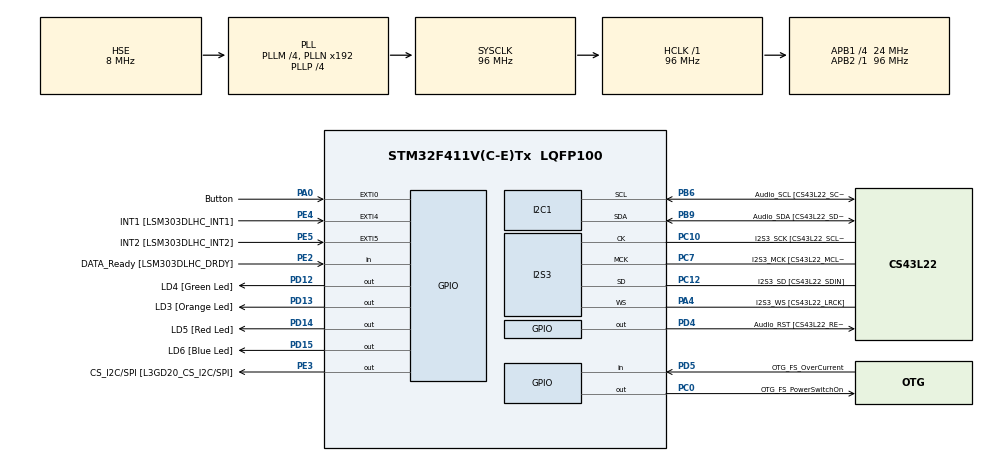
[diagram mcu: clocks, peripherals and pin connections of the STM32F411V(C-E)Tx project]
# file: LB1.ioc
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Dma.Request0=SPI3_TX
Dma.SPI3_TX.0.Direction=DMA_MEMORY_TO_PERIPH
Dma.SPI3_TX.0.FIFOMode=DMA_FIFOMODE_ENABLE
Dma.SPI3_TX.0.FIFOThreshold=DMA_FIFO_THRESHOLD_FULL
Dma.SPI3_TX.0.Instance=DMA1_Stream5
Dma.SPI3_TX.0.MemBurst=DMA_MBURST_SINGLE
Dma.SPI3_TX.0.MemDataAlignment=DMA_MDATAALIGN_HALFWORD
Dma.SPI3_TX.0.MemInc=DMA_MINC_ENABLE
Dma.SPI3_TX.0.Mode=DMA_CIRCULAR
Dma.SPI3_TX.0.PeriphBurst=DMA_PBURST_SINGLE
Dma.SPI3_TX.0.PeriphDataAlignment=DMA_PDATAALIGN_HALFWORD
Dma.SPI3_TX.0.PeriphInc=DMA_PINC_DISABLE
Dma.SPI3_TX.0.Priority=DMA_PRIORITY_LOW
I2S3.AudioFreq=I2S_AUDIOFREQ_48K
I2S3.ErrorAudioFreq=0.15 %
I2S3.FullDuplexMode=I2S_FULLDUPLEXMODE_DISABLE
I2S3.Instance=SPI$Index
I2S3.RealAudioFreq=48.076 KHz
I2S3.VirtualMode=I2S_MODE_MASTER
Mcu.Family=STM32F4
Mcu.Name=STM32F411V(C-E)Tx
Mcu.Package=LQFP100
NVIC.DMA1_Stream5_IRQn=true\:0\:0\:false\:false\:true\:false\:true
NVIC.EXTI0_IRQn=true\:0\:0\:false\:false\:true\:true\:true
NVIC.PriorityGroup=NVIC_PRIORITYGROUP_0
PA0-WKUP.GPIO_Label=Button
PA0-WKUP.Signal=GPXTI0
PA13.GPIO_Label=SWDIO
PA13.Mode=Serial_Wire
PA13.Signal=SYS_JTMS-SWDIO
PA14.GPIO_Label=SWCLK
PA14.Mode=Serial_Wire
PA14.Signal=SYS_JTCK-SWCLK
PA4.GPIO_Label=I2S3_WS [CS43L22_LRCK]
PA4.GPIO_Mode=GPIO_MODE_AF_PP
PA4.GPIO_PuPd=GPIO_NOPULL
PA4.GPIO_Speed=GPIO_SPEED_FREQ_LOW
PA4.Mode=Half_Duplex_Master
PA4.Signal=I2S3_WS
PB6.GPIO_Label=Audio_SCL [CS43L22_SCL]
PB6.GPIO_Mode=GPIO_MODE_AF_OD
PB6.GPIO_PuPd=GPIO_NOPULL
PB6.GPIO_Speed=GPIO_SPEED_FREQ_LOW
PB6.Mode=I2C
PB6.Signal=I2C1_SCL
PB9.GPIO_Label=Audio_SDA [CS43L22_SDA]
PB9.GPIO_Mode=GPIO_MODE_AF_OD
PB9.GPIO_PuPd=GPIO_NOPULL
PB9.GPIO_Speed=GPIO_SPEED_FREQ_LOW
PB9.Mode=I2C
PB9.Signal=I2C1_SDA
PC0.GPIO_Label=OTG_FS_PowerSwitchOn
PC0.PinState=GPIO_PIN_SET
PC0.Signal=GPIO_Output
PC10.GPIO_Label=I2S3_SCK [CS43L22_SCLK]
PC10.GPIO_Mode=GPIO_MODE_AF_PP
PC10.GPIO_PuPd=GPIO_NOPULL
PC10.GPIO_Speed=GPIO_SPEED_FREQ_LOW
PC10.Mode=Half_Duplex_Master
PC10.Signal=I2S3_CK
PC12.GPIO_Label=I2S3_SD [CS43L22_SDIN]
PC12.GPIO_Mode=GPIO_MODE_AF_PP
PC12.GPIO_PuPd=GPIO_NOPULL
PC12.GPIO_Speed=GPIO_SPEED_FREQ_LOW
PC12.Mode=Half_Duplex_Master
PC12.Signal=I2S3_SD
PC7.GPIO_Label=I2S3_MCK [CS43L22_MCLK]
PC7.GPIO_Mode=GPIO_MODE_AF_PP
PC7.GPIO_PuPd=GPIO_NOPULL
PC7.GPIO_Speed=GPIO_SPEED_FREQ_LOW
PC7.Mode=Master_Clock_Activated
PC7.Signal=I2S3_MCK
PD12.GPIO_Label=LD4 [Green Led]
PD12.GPIO_PuPd=GPIO_NOPULL
PD12.GPIO_Speed=GPIO_SPEED_FREQ_LOW
PD12.Signal=GPIO_Output
PD13.GPIO_Label=LD3 [Orange Led]
PD13.GPIO_PuPd=GPIO_NOPULL
PD13.GPIO_Speed=GPIO_SPEED_FREQ_LOW
PD13.Signal=GPIO_Output
PD14.GPIO_Label=LD5 [Red Led]
PD14.GPIO_PuPd=GPIO_NOPULL
PD14.GPIO_Speed=GPIO_SPEED_FREQ_LOW
PD14.Signal=GPIO_Output
PD15.GPIO_Label=LD6 [Blue Led]
PD15.GPIO_PuPd=GPIO_NOPULL
PD15.GPIO_Speed=GPIO_SPEED_FREQ_LOW
PD15.Signal=GPIO_Output
PD4.GPIO_Label=Audio_RST [CS43L22_RESET]
PD4.Signal=GPIO_Output
PD5.GPIO_Label=OTG_FS_OverCurrent
PD5.Signal=GPIO_Input
PE2.GPIO_Label=DATA_Ready [LSM303DLHC_DRDY]
PE2.Signal=GPIO_Input
PE3.GPIO_Label=CS_I2C/SPI [L3GD20_CS_I2C/SPI]
PE3.Signal=GPIO_Output
PE4.GPIO_Label=INT1 [LSM303DLHC_INT1]
PE4.GPIO_ModeDefaultEXTI=GPIO_MODE_EVT_RISING
PE4.Signal=GPXTI4
PE5.GPIO_Label=INT2 [LSM303DLHC_INT2]
PE5.GPIO_ModeDefaultEXTI=GPIO_MODE_EVT_RISING
PE5.Signal=GPXTI5
PH0\ -\ OSC_IN.GPIO_Label=PH0-OSC_IN
PH0\ -\ OSC_IN.Mode=HSE-External-Oscillator
PH0\ -\ OSC_IN.Signal=RCC_OSC_IN
PH1\ -\ OSC_OUT.GPIO_Label=PH1-OSC_OUT
PH1\ -\ OSC_OUT.Mode=HSE-External-Oscillator
PH1\ -\ OSC_OUT.Signal=RCC_OSC_OUT
ProjectManager.HeapSize=0x200
ProjectManager.StackSize=0x400
ProjectManager.TargetToolchain=SW4STM32
RCC.48MHZClocksFreq_Value=48000000
RCC.AHBFreq_Value=96000000
RCC.APB1CLKDivider=RCC_HCLK_DIV4
RCC.APB1Freq_Value=24000000
RCC.APB1TimFreq_Value=48000000
RCC.APB2Freq_Value=96000000
RCC.APB2TimFreq_Value=96000000
RCC.CortexFreq_Value=96000000
RCC.HCLKFreq_Value=96000000
RCC.HSE_VALUE=8000000
RCC.HSI_VALUE=16000000
RCC.LSE_VALUE=32768
RCC.PLLI2SM=5
RCC.PLLI2SN=200
RCC.PLLM=4
RCC.PLLP=RCC_PLLP_DIV4
RCC.PLLQ=8
RCC.PLLSourceVirtual=RCC_PLLSOURCE_HSE
RCC.SYSCLKFreq_VALUE=96000000
RCC.SYSCLKSource=RCC_SYSCLKSOURCE_PLLCLK
RCC.VCOOutputFreq_Value=384000000
board=STM32F411E-DISCO

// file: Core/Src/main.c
/* USER CODE BEGIN Header */
/**
  ******************************************************************************
  * @file           : main.c
  * @brief          : Main program body
  ******************************************************************************
  * @attention
  *
  * <h2><center>&copy; Copyright (c) 2020 STMicroelectronics.
  * All rights reserved.</center></h2>
  *
  * This software component is licensed by ST under Ultimate Liberty license
  * SLA0044, the "License"; You may not use this file except in compliance with
  * the License. You may obtain a copy of the License at:
  *                             www.st.com/SLA0044
  *
  ******************************************************************************
  */
/* USER CODE END Header */
#include "main.h"

/* USER CODE BEGIN Includes */
#include <math.h>
#include "cs43l22.h"
/* USER CODE END Includes */

I2C_HandleTypeDef hi2c1;

I2S_HandleTypeDef hi2s3;
DMA_HandleTypeDef hdma_spi3_tx;

/* USER CODE BEGIN PV */
#define PI                     3.14159f

#define SAMPLE_RATE            48000.0f
#define OUTPUT_FREQUENCY       2000.0f // must be > 96
/* USER CODE END PV */

void SystemClock_Config(void);

static void MX_GPIO_Init(void);

static void MX_DMA_Init(void);

static void MX_I2C1_Init(void);

static void MX_I2S3_Init(void);

/* USER CODE BEGIN PFP */

void Setup_Wave(int8_t new_wave_mode);

/* USER CODE END PFP */

/* USER CODE BEGIN 0 */

int8_t wave_mode = 0; // 0 - Sine, 1 - Saw, 2 - Meander

float sample_dt = OUTPUT_FREQUENCY / SAMPLE_RATE; // period of wave in DAC ticks
int16_t sample_N = SAMPLE_RATE / OUTPUT_FREQUENCY; // quantity of DAC ticks in one wave period

int16_t sine_wave_i2s_data[1000];
int16_t saw_wave_i2s_data[1000];
int16_t meander_wave_i2s_data[1000];

/* USER CODE END 0 */

int main(void) {

    /* MCU Configuration--------------------------------------------------------*/

    /* Reset of all peripherals, Initializes the Flash interface and the Systick. */
    HAL_Init();

    /* Configure the system clock */
    SystemClock_Config();

    /* Initialize all configured peripherals */
    MX_GPIO_Init();
    MX_DMA_Init();
    MX_I2C1_Init();
    MX_I2S3_Init();
    /* USER CODE BEGIN 2 */
    CS43_Init(hi2c1, MODE_I2S);
    CS43_SetVolume(100); //0 - 100
    CS43_Enable_RightLeft(CS43_RIGHT_LEFT);
    CS43_Start();

    float value; // Temp variable for calculation
    // Build sine wave
    for (uint16_t func_fragment = 0; func_fragment < sample_N; ++func_fragment) {
        value = sinf(2 * PI * sample_dt * func_fragment);
        sine_wave_i2s_data[func_fragment * 2] = value * 8000;    //Right data (0 2 4 6 8 10 12)
        sine_wave_i2s_data[func_fragment * 2 + 1] = value * 8000; //Left data  (1 3 5 7 9 11 13)
    }

    // Build saw wave
    float k_value = 1.0f / sample_N;
    for (uint16_t func_fragment = 0; func_fragment < sample_N; ++func_fragment) {
        value = k_value * func_fragment;
        saw_wave_i2s_data[func_fragment * 2] = value * 8000.0;
        saw_wave_i2s_data[func_fragment * 2 + 1] = value * 8000.0;
    }

    // Build meander wave
    for (uint16_t func_fragment = 0; func_fragment < sample_N / 2; ++func_fragment) {
        meander_wave_i2s_data[func_fragment * 2] = 0;
        meander_wave_i2s_data[func_fragment * 2 + 1] = 0;
    }
    for (uint16_t func_fragment = sample_N / 2; func_fragment < sample_N; ++func_fragment) {
        meander_wave_i2s_data[func_fragment * 2] = 8000;
        meander_wave_i2s_data[func_fragment * 2 + 1] = 8000;
    }

    Setup_Wave(wave_mode);
    /* USER CODE END 2 */

    /* Infinite loop */
    while (1) {

    }
}

void SystemClock_Config(void) {
    RCC_OscInitTypeDef RCC_OscInitStruct = {0};
    RCC_ClkInitTypeDef RCC_ClkInitStruct = {0};
    RCC_PeriphCLKInitTypeDef PeriphClkInitStruct = {0};

    /** Configure the main internal regulator output voltage
    */
    __HAL_RCC_PWR_CLK_ENABLE();
    __HAL_PWR_VOLTAGESCALING_CONFIG(PWR_REGULATOR_VOLTAGE_SCALE1);
    /** Initializes the RCC Oscillators according to the specified parameters
    * in the RCC_OscInitTypeDef structure.
    */
    RCC_OscInitStruct.OscillatorType = RCC_OSCILLATORTYPE_HSE;
    RCC_OscInitStruct.HSEState = RCC_HSE_ON;
    RCC_OscInitStruct.PLL.PLLState = RCC_PLL_ON;
    RCC_OscInitStruct.PLL.PLLSource = RCC_PLLSOURCE_HSE;
    RCC_OscInitStruct.PLL.PLLM = 4;
    RCC_OscInitStruct.PLL.PLLN = 192;
    RCC_OscInitStruct.PLL.PLLP = RCC_PLLP_DIV4;
    RCC_OscInitStruct.PLL.PLLQ = 8;
    if (HAL_RCC_OscConfig(&RCC_OscInitStruct) != HAL_OK) {
        Error_Handler();
    }
    /** Initializes the CPU, AHB and APB buses clocks
    */
    RCC_ClkInitStruct.ClockType = RCC_CLOCKTYPE_HCLK | RCC_CLOCKTYPE_SYSCLK
                                  | RCC_CLOCKTYPE_PCLK1 | RCC_CLOCKTYPE_PCLK2;
    RCC_ClkInitStruct.SYSCLKSource = RCC_SYSCLKSOURCE_PLLCLK;
    RCC_ClkInitStruct.AHBCLKDivider = RCC_SYSCLK_DIV1;
    RCC_ClkInitStruct.APB1CLKDivider = RCC_HCLK_DIV4;
    RCC_ClkInitStruct.APB2CLKDivider = RCC_HCLK_DIV1;

    if (HAL_RCC_ClockConfig(&RCC_ClkInitStruct, FLASH_LATENCY_3) != HAL_OK) {
        Error_Handler();
    }
    PeriphClkInitStruct.PeriphClockSelection = RCC_PERIPHCLK_I2S;
    PeriphClkInitStruct.PLLI2S.PLLI2SN = 200;
    PeriphClkInitStruct.PLLI2S.PLLI2SM = 5;
    PeriphClkInitStruct.PLLI2S.PLLI2SR = 2;
    if (HAL_RCCEx_PeriphCLKConfig(&PeriphClkInitStruct) != HAL_OK) {
        Error_Handler();
    }
}

static void MX_I2C1_Init(void) {

    hi2c1.Instance = I2C1;
    hi2c1.Init.ClockSpeed = 100000;
    hi2c1.Init.DutyCycle = I2C_DUTYCYCLE_2;
    hi2c1.Init.OwnAddress1 = 0;
    hi2c1.Init.AddressingMode = I2C_ADDRESSINGMODE_7BIT;
    hi2c1.Init.DualAddressMode = I2C_DUALADDRESS_DISABLE;
    hi2c1.Init.OwnAddress2 = 0;
    hi2c1.Init.GeneralCallMode = I2C_GENERALCALL_DISABLE;
    hi2c1.Init.NoStretchMode = I2C_NOSTRETCH_DISABLE;
    if (HAL_I2C_Init(&hi2c1) != HAL_OK) {
        Error_Handler();
    }

}

static void MX_I2S3_Init(void) {

    hi2s3.Instance = SPI3;
    hi2s3.Init.Mode = I2S_MODE_MASTER_TX;
    hi2s3.Init.Standard = I2S_STANDARD_PHILIPS;
    hi2s3.Init.DataFormat = I2S_DATAFORMAT_16B;
    hi2s3.Init.MCLKOutput = I2S_MCLKOUTPUT_ENABLE;
    hi2s3.Init.AudioFreq = I2S_AUDIOFREQ_48K;
    hi2s3.Init.CPOL = I2S_CPOL_LOW;
    hi2s3.Init.ClockSource = I2S_CLOCK_PLL;
    hi2s3.Init.FullDuplexMode = I2S_FULLDUPLEXMODE_DISABLE;
    if (HAL_I2S_Init(&hi2s3) != HAL_OK) {
        Error_Handler();
    }

}

static void MX_DMA_Init(void) {

    /* DMA controller clock enable */
    __HAL_RCC_DMA1_CLK_ENABLE();

    /* DMA interrupt init */
    /* DMA1_Stream5_IRQn interrupt configuration */
    HAL_NVIC_SetPriority(DMA1_Stream5_IRQn, 0, 0);
    HAL_NVIC_EnableIRQ(DMA1_Stream5_IRQn);

}

static void MX_GPIO_Init(void) {
    GPIO_InitTypeDef GPIO_InitStruct = {0};

    /* GPIO Ports Clock Enable */
    __HAL_RCC_GPIOE_CLK_ENABLE();
    __HAL_RCC_GPIOH_CLK_ENABLE();
    __HAL_RCC_GPIOC_CLK_ENABLE();
    __HAL_RCC_GPIOA_CLK_ENABLE();
    __HAL_RCC_GPIOD_CLK_ENABLE();
    __HAL_RCC_GPIOB_CLK_ENABLE();

    /*Configure GPIO pin Output Level */
    HAL_GPIO_WritePin(CS_I2C_SPI_GPIO_Port, CS_I2C_SPI_Pin, GPIO_PIN_RESET);

    /*Configure GPIO pin Output Level */
    HAL_GPIO_WritePin(OTG_FS_PowerSwitchOn_GPIO_Port, OTG_FS_PowerSwitchOn_Pin, GPIO_PIN_SET);

    /*Configure GPIO pin Output Level */
    HAL_GPIO_WritePin(GPIOD, LD4_Pin | LD3_Pin | LD5_Pin | LD6_Pin
                             | Audio_RST_Pin, GPIO_PIN_RESET);

    /*Configure GPIO pin : DATA_Ready_Pin */
    GPIO_InitStruct.Pin = DATA_Ready_Pin;
    GPIO_InitStruct.Mode = GPIO_MODE_INPUT;
    GPIO_InitStruct.Pull = GPIO_NOPULL;
    HAL_GPIO_Init(DATA_Ready_GPIO_Port, &GPIO_InitStruct);

    /*Configure GPIO pin : CS_I2C_SPI_Pin */
    GPIO_InitStruct.Pin = CS_I2C_SPI_Pin;
    GPIO_InitStruct.Mode = GPIO_MODE_OUTPUT_PP;
    GPIO_InitStruct.Pull = GPIO_NOPULL;
    GPIO_InitStruct.Speed = GPIO_SPEED_FREQ_LOW;
    HAL_GPIO_Init(CS_I2C_SPI_GPIO_Port, &GPIO_InitStruct);

    /*Configure GPIO pins : INT1_Pin INT2_Pin */
    GPIO_InitStruct.Pin = INT1_Pin | INT2_Pin;
    GPIO_InitStruct.Mode = GPIO_MODE_EVT_RISING;
    GPIO_InitStruct.Pull = GPIO_NOPULL;
    HAL_GPIO_Init(GPIOE, &GPIO_InitStruct);

    /*Configure GPIO pin : OTG_FS_PowerSwitchOn_Pin */
    GPIO_InitStruct.Pin = OTG_FS_PowerSwitchOn_Pin;
    GPIO_InitStruct.Mode = GPIO_MODE_OUTPUT_PP;
    GPIO_InitStruct.Pull = GPIO_NOPULL;
    GPIO_InitStruct.Speed = GPIO_SPEED_FREQ_LOW;
    HAL_GPIO_Init(OTG_FS_PowerSwitchOn_GPIO_Port, &GPIO_InitStruct);

    /*Configure GPIO pin : Button_Pin */
    GPIO_InitStruct.Pin = Button_Pin;
    GPIO_InitStruct.Mode = GPIO_MODE_IT_RISING;
    GPIO_InitStruct.Pull = GPIO_NOPULL;
    HAL_GPIO_Init(Button_GPIO_Port, &GPIO_InitStruct);

    /*Configure GPIO pins : LD4_Pin LD3_Pin LD5_Pin LD6_Pin
                             Audio_RST_Pin */
    GPIO_InitStruct.Pin = LD4_Pin | LD3_Pin | LD5_Pin | LD6_Pin
                          | Audio_RST_Pin;
    GPIO_InitStruct.Mode = GPIO_MODE_OUTPUT_PP;
    GPIO_InitStruct.Pull = GPIO_NOPULL;
    GPIO_InitStruct.Speed = GPIO_SPEED_FREQ_LOW;
    HAL_GPIO_Init(GPIOD, &GPIO_InitStruct);

    /*Configure GPIO pin : OTG_FS_OverCurrent_Pin */
    GPIO_InitStruct.Pin = OTG_FS_OverCurrent_Pin;
    GPIO_InitStruct.Mode = GPIO_MODE_INPUT;
    GPIO_InitStruct.Pull = GPIO_NOPULL;
    HAL_GPIO_Init(OTG_FS_OverCurrent_GPIO_Port, &GPIO_InitStruct);

    /* EXTI interrupt init*/
    HAL_NVIC_SetPriority(EXTI0_IRQn, 0, 0);
    HAL_NVIC_EnableIRQ(EXTI0_IRQn);

}

/* USER CODE BEGIN 4 */
void Setup_Wave(int8_t new_wave_mode) {
    HAL_I2S_DMAStop(&hi2s3);

    if (new_wave_mode == 0) {
        HAL_I2S_Transmit_DMA(&hi2s3, (uint16_t *) sine_wave_i2s_data, sample_N * 2);
    } else if (new_wave_mode == 1) {
        HAL_I2S_Transmit_DMA(&hi2s3, (uint16_t *) saw_wave_i2s_data, sample_N * 2);
    } else if (new_wave_mode == 2) {
        HAL_I2S_Transmit_DMA(&hi2s3, (uint16_t *) meander_wave_i2s_data, sample_N * 2);
    } else {
        wave_mode = 0;
        HAL_I2S_Transmit_DMA(&hi2s3, (uint16_t *) sine_wave_i2s_data, sample_N * 2);
    }
}

void HAL_GPIO_EXTI_Callback(uint16_t GPIO_Pin) {
    if (GPIO_Pin == Button_Pin) {
        if (wave_mode == 2) {
            wave_mode = 0;
        } else {
            ++wave_mode;
        }
        Setup_Wave(wave_mode);
    }
}

/* USER CODE END 4 */

void Error_Handler(void) {
}

/************************ (C) COPYRIGHT STMicroelectronics *****END OF FILE****/
